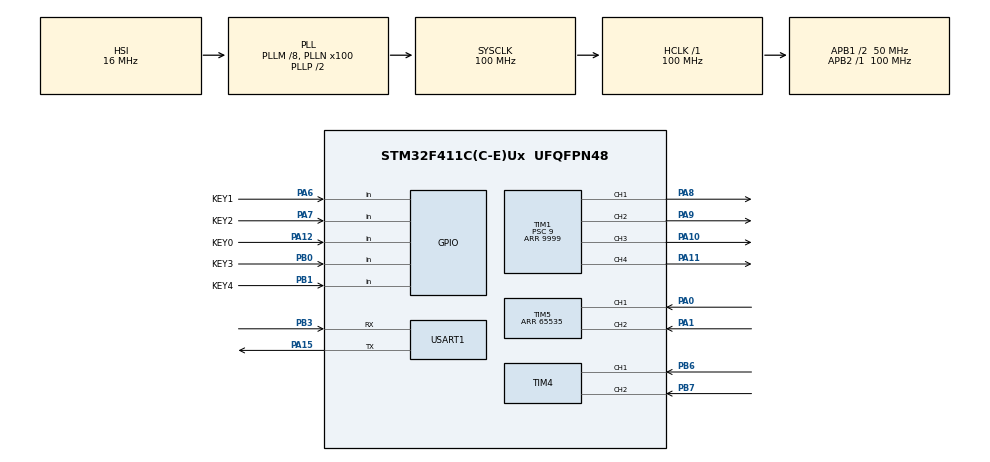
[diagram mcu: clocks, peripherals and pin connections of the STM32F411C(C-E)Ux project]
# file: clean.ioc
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Mcu.Family=STM32F4
Mcu.Name=STM32F411C(C-E)Ux
Mcu.Package=UFQFPN48
NVIC.PriorityGroup=NVIC_PRIORITYGROUP_4
PA0-WKUP.Signal=S_TIM5_CH1
PA1.Signal=S_TIM5_CH2
PA10.Signal=S_TIM1_CH3
PA11.Signal=S_TIM1_CH4
PA12.GPIO_Label=KEY0
PA12.Signal=GPIO_Input
PA13.Mode=Serial_Wire
PA13.Signal=SYS_JTMS-SWDIO
PA14.Mode=Serial_Wire
PA14.Signal=SYS_JTCK-SWCLK
PA15.Mode=Asynchronous
PA15.Signal=USART1_TX
PA6.GPIO_Label=KEY1
PA6.Signal=GPIO_Input
PA7.GPIO_Label=KEY2
PA7.Signal=GPIO_Input
PA8.Signal=S_TIM1_CH1
PA9.Signal=S_TIM1_CH2
PB0.GPIO_Label=KEY3
PB0.Signal=GPIO_Input
PB1.GPIO_Label=KEY4
PB1.Signal=GPIO_Input
PB3.Mode=Asynchronous
PB3.Signal=USART1_RX
PB6.Signal=S_TIM4_CH1
PB7.Signal=S_TIM4_CH2
PH0\ -\ OSC_IN.Mode=HSE-External-Oscillator
PH0\ -\ OSC_IN.Signal=RCC_OSC_IN
PH1\ -\ OSC_OUT.Mode=HSE-External-Oscillator
PH1\ -\ OSC_OUT.Signal=RCC_OSC_OUT
ProjectManager.HeapSize=0x200
ProjectManager.StackSize=0x400
ProjectManager.TargetToolchain=MDK-ARM V5.32
RCC.48MHZClocksFreq_Value=50000000
RCC.AHBFreq_Value=100000000
RCC.APB1CLKDivider=RCC_HCLK_DIV2
RCC.APB1Freq_Value=50000000
RCC.APB1TimFreq_Value=100000000
RCC.APB2Freq_Value=100000000
RCC.APB2TimFreq_Value=100000000
RCC.CortexFreq_Value=100000000
RCC.HCLKFreq_Value=100000000
RCC.HSE_VALUE=25000000
RCC.HSI_VALUE=16000000
RCC.LSE_VALUE=32768
RCC.PLLM=8
RCC.PLLN=100
RCC.SYSCLKFreq_VALUE=100000000
RCC.SYSCLKSource=RCC_SYSCLKSOURCE_PLLCLK
RCC.VCOOutputFreq_Value=200000000
SH.S_TIM1_CH1.0=TIM1_CH1,PWM Generation1 CH1
SH.S_TIM1_CH2.0=TIM1_CH2,PWM Generation2 CH2
SH.S_TIM1_CH3.0=TIM1_CH3,PWM Generation3 CH3
SH.S_TIM1_CH4.0=TIM1_CH4,PWM Generation4 CH4
SH.S_TIM4_CH1.0=TIM4_CH1,Encoder_Interface
SH.S_TIM4_CH2.0=TIM4_CH2,Encoder_Interface
SH.S_TIM5_CH1.0=TIM5_CH1,Encoder_Interface
SH.S_TIM5_CH2.0=TIM5_CH2,Encoder_Interface
TIM1.AutoReloadPreload=TIM_AUTORELOAD_PRELOAD_ENABLE
TIM1.Channel-PWM\ Generation1\ CH1=TIM_CHANNEL_1
TIM1.Channel-PWM\ Generation2\ CH2=TIM_CHANNEL_2
TIM1.Channel-PWM\ Generation3\ CH3=TIM_CHANNEL_3
TIM1.Channel-PWM\ Generation4\ CH4=TIM_CHANNEL_4
TIM1.Period=9999
TIM1.Prescaler=9
TIM1.Pulse-PWM\ Generation1\ CH1=10000
TIM1.Pulse-PWM\ Generation3\ CH3=10000
TIM5.Period=65535
USART1.VirtualMode=VM_ASYNC
VP_TIM1_VS_ClockSourceINT.Mode=Internal
board=custom

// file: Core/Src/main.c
/* USER CODE BEGIN Header */
/**
  ******************************************************************************
  * @file           : main.c
  * @brief          : Main program body
  ******************************************************************************
  * @attention
  *
  * Copyright (c) 2025 STMicroelectronics.
  * All rights reserved.
  *
  * This software is licensed under terms that can be found in the LICENSE file
  * in the root directory of this software component.
  * If no LICENSE file comes with this software, it is provided AS-IS.
  *
  ******************************************************************************
  */
/* USER CODE END Header */
#include "main.h"
#include "tim.h"
#include "usart.h"
#include "gpio.h"

/* USER CODE BEGIN Includes */
#include "encoder.h"
#include "pwm.h"
#include "debug.h"
#include "GWKJ.h"
/* USER CODE END Includes */

void SystemClock_Config(void);

int main(void)
{

  /* MCU Configuration--------------------------------------------------------*/

  /* Reset of all peripherals, Initializes the Flash interface and the Systick. */
  HAL_Init();

  /* Configure the system clock */
  SystemClock_Config();

  /* Initialize all configured peripherals */
  MX_GPIO_Init();
  MX_TIM1_Init();
  MX_TIM4_Init();
  MX_TIM5_Init();
  MX_USART1_UART_Init();
  /* USER CODE BEGIN 2 */
	HAL_TIM_PWM_Start(&htim1,TIM_CHANNEL_1);
	HAL_TIM_PWM_Start(&htim1,TIM_CHANNEL_2);
	HAL_TIM_PWM_Start(&htim1,TIM_CHANNEL_3);
	HAL_TIM_PWM_Start(&htim1,TIM_CHANNEL_4);
	HAL_TIM_Encoder_Start(&htim4,TIM_CHANNEL_ALL);
	HAL_TIM_Encoder_Start(&htim5,TIM_CHANNEL_ALL);
	GW_digital_Init();
	uint8_t BIT[8]={0,0,0,0,0,0,0,0};
  /* USER CODE END 2 */

  /* Infinite loop */
  /* USER CODE BEGIN WHILE */
  while (1)
  {
		Set_PWM(0,0);
		DEBUG_info("Encoder_Left111",":%d",(int)Read_Encoder(4));
		DEBUG_info("Encoder_Left222",":%d",(int)Read_Encoder(5));
		delay_us(100000);
		//Set_PWM(-1000,-1000);
		DEBUG_info("Encoder_Left111",":%d",(int)Read_Encoder(4));
		DEBUG_info("Encoder_Left222",":%d",(int)Read_Encoder(5));
		GW_digital_eight(BIT);
		DEBUG_info("Grey",":%d,%d,%d,%d,%d,%d,%d,%d",(int)BIT[0],(int)BIT[1],(int)BIT[2],(int)BIT[3],(int)BIT[4],(int)BIT[5],(int)BIT[6],(int)BIT[7]);
		HAL_Delay(100);
    /* USER CODE END WHILE */

  }
}

void SystemClock_Config(void)
{
  RCC_OscInitTypeDef RCC_OscInitStruct = {0};
  RCC_ClkInitTypeDef RCC_ClkInitStruct = {0};

  /** Configure the main internal regulator output voltage
  */
  __HAL_RCC_PWR_CLK_ENABLE();
  __HAL_PWR_VOLTAGESCALING_CONFIG(PWR_REGULATOR_VOLTAGE_SCALE1);

  /** Initializes the RCC Oscillators according to the specified parameters
  * in the RCC_OscInitTypeDef structure.
  */
  RCC_OscInitStruct.OscillatorType = RCC_OSCILLATORTYPE_HSI;
  RCC_OscInitStruct.HSIState = RCC_HSI_ON;
  RCC_OscInitStruct.HSICalibrationValue = RCC_HSICALIBRATION_DEFAULT;
  RCC_OscInitStruct.PLL.PLLState = RCC_PLL_ON;
  RCC_OscInitStruct.PLL.PLLSource = RCC_PLLSOURCE_HSI;
  RCC_OscInitStruct.PLL.PLLM = 8;
  RCC_OscInitStruct.PLL.PLLN = 100;
  RCC_OscInitStruct.PLL.PLLP = RCC_PLLP_DIV2;
  RCC_OscInitStruct.PLL.PLLQ = 4;
  if (HAL_RCC_OscConfig(&RCC_OscInitStruct) != HAL_OK)
  {
    Error_Handler();
  }

  /** Initializes the CPU, AHB and APB buses clocks
  */
  RCC_ClkInitStruct.ClockType = RCC_CLOCKTYPE_HCLK|RCC_CLOCKTYPE_SYSCLK
                              |RCC_CLOCKTYPE_PCLK1|RCC_CLOCKTYPE_PCLK2;
  RCC_ClkInitStruct.SYSCLKSource = RCC_SYSCLKSOURCE_PLLCLK;
  RCC_ClkInitStruct.AHBCLKDivider = RCC_SYSCLK_DIV1;
  RCC_ClkInitStruct.APB1CLKDivider = RCC_HCLK_DIV2;
  RCC_ClkInitStruct.APB2CLKDivider = RCC_HCLK_DIV1;

  if (HAL_RCC_ClockConfig(&RCC_ClkInitStruct, FLASH_LATENCY_3) != HAL_OK)
  {
    Error_Handler();
  }
}

void Error_Handler(void)
{
  __disable_irq();
  while (1)
  {
  }
}
